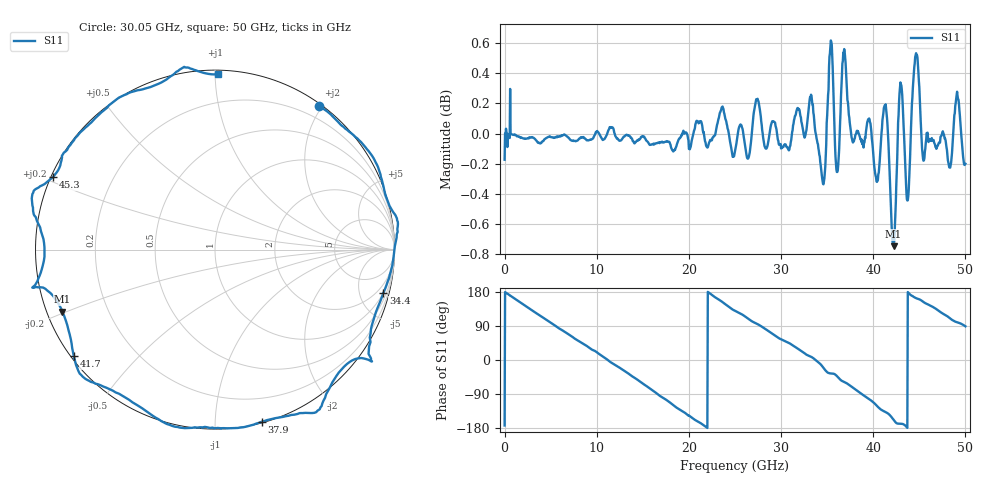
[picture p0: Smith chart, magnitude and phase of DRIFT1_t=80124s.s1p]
!Created with skrf (http://scikit-rf.org).
# Hz S RI R 50.0
!freq ReS11 ImS11
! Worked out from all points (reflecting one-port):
!   1001 points, 300 kHz to 50 GHz, reference 50 ohm
!   lowest |S11| = -0.7 dB at 42.2 GHz (marker M1), VSWR 23.19, Z = 2.24 - j9.75 ohm
!   phase of S11 starts at -173 deg and turns -818 deg over the sweep
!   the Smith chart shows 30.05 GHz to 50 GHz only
!   S11 on the Smith chart (normalised r, x): 30.05 GHz: 0.03, +1.96; 34.4 GHz: 0.98, -7.80; 37.9 GHz: 0.01, -1.31; 41.7 GHz: 0.01, -0.33; 45.3 GHz: 0.01, +0.21; 50 GHz: 0.02, +1.02
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300000  -0.9725 -0.1219
1.450291e9  -0.9126 0.4039
3.25028e9  -0.5932 0.8002
6.250262e9  0.1985 0.9787
9.500243e9  0.8873 0.4519
1.250022e10  0.9302 -0.3516
1.580021e10  0.2429 -0.9611
1.73502e10  -0.2107 -0.9709
1.875019e10  -0.5981 -0.7923
2.165017e10  -0.9911 -0.1211
2.345016e10  -0.9303 0.4122
2.500015e10  -0.6279 0.7609
2.745014e10  -0.0839 1.024
3.005012e10  0.582 0.7994
3.125011e10  0.7818 0.6276
3.32001e10  1.015 0.1634
3.440009e10  0.9387 -0.241
3.520009e10  0.8652 -0.5982
3.750008e10  0.3781 -0.9321
3.790007e10  0.2595 -0.9597
3.960006e10  -0.2386 -0.9821
4.170005e10  -0.7872 -0.5913
4.220005e10  -0.8499 -0.3452
4.290004e10  -1.013 -0.2129
4.375004e10  -0.9501 0.0108
4.530003e10  -0.9015 0.4053
4.765001e10  -0.5141 0.8572
5e10  0.0184 0.977
